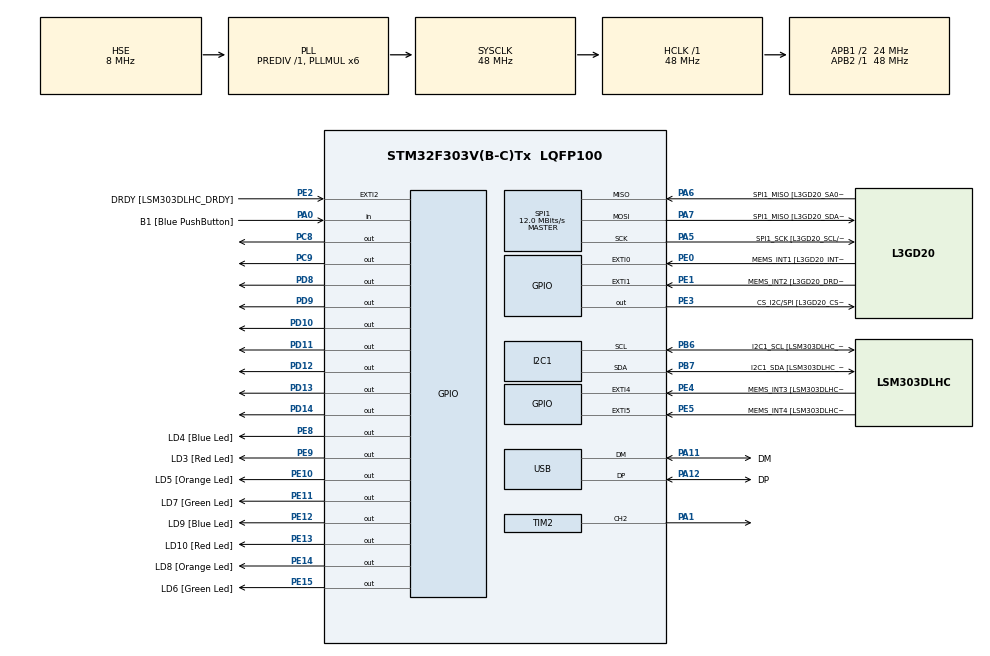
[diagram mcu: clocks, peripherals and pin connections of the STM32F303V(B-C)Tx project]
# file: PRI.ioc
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I2C1.Timing=0x2000090E
I2C1.Timing-I2C=0x2000090E
Mcu.Family=STM32F3
Mcu.Name=STM32F303V(B-C)Tx
Mcu.Package=LQFP100
NVIC.PriorityGroup=NVIC_PRIORITYGROUP_0
PA0.GPIO_Label=B1 [Blue PushButton]
PA0.Signal=GPIO_Input
PA1.Signal=S_TIM2_CH2
PA11.GPIO_Label=DM
PA11.Mode=Device
PA11.Signal=USB_DM
PA12.GPIO_Label=DP
PA12.Mode=Device
PA12.Signal=USB_DP
PA13.GPIO_Label=SWDIO
PA13.Mode=Serial_Wire
PA13.Signal=SYS_JTMS-SWDIO
PA14.GPIO_Label=SWCLK
PA14.Mode=Serial_Wire
PA14.Signal=SYS_JTCK-SWCLK
PA5.GPIO_Label=SPI1_SCK [L3GD20_SCL/SPC]
PA5.Mode=Full_Duplex_Master
PA5.Signal=SPI1_SCK
PA6.GPIO_Label=SPI1_MISO [L3GD20_SA0/SDO]
PA6.Mode=Full_Duplex_Master
PA6.Signal=SPI1_MISO
PA7.GPIO_Label=SPI1_MISO [L3GD20_SDA/SDI/SDO]
PA7.Mode=Full_Duplex_Master
PA7.Signal=SPI1_MOSI
PB3.GPIO_Label=SWO
PB3.Signal=SYS_JTDO-TRACESWO
PB6.GPIO_Label=I2C1_SCL [LSM303DLHC_SCL]
PB6.GPIO_Pu=GPIO_PULLUP
PB6.Mode=I2C
PB6.Signal=I2C1_SCL
PB7.GPIO_Label=I2C1_SDA [LSM303DLHC_SDA]
PB7.GPIO_Pu=GPIO_PULLUP
PB7.Mode=I2C
PB7.Signal=I2C1_SDA
PC14-OSC32_IN.GPIO_Label=OSC32_IN
PC14-OSC32_IN.Signal=RCC_OSC32_IN
PC15-OSC32_OUT.GPIO_Label=OSC32_OUT
PC15-OSC32_OUT.Signal=RCC_OSC32_OUT
PC8.PinState=GPIO_PIN_RESET
PC8.Signal=GPIO_Output
PC9.Signal=GPIO_Output
PD10.Signal=GPIO_Output
PD11.Signal=GPIO_Output
PD12.Signal=GPIO_Output
PD13.Signal=GPIO_Output
PD14.Signal=GPIO_Output
PD8.Signal=GPIO_Output
PD9.Signal=GPIO_Output
PE0.GPIO_Label=MEMS_INT1 [L3GD20_INT1]
PE0.GPIO_ModeDefaultEXTI=GPIO_MODE_EVT_RISING
PE0.Signal=GPXTI0
PE1.GPIO_Label=MEMS_INT2 [L3GD20_DRDY/INT2]
PE1.GPIO_ModeDefaultEXTI=GPIO_MODE_EVT_RISING
PE1.Signal=GPXTI1
PE10.GPIO_Label=LD5 [Orange Led]
PE10.Signal=GPIO_Output
PE11.GPIO_Label=LD7 [Green Led]
PE11.Signal=GPIO_Output
PE12.GPIO_Label=LD9 [Blue Led]
PE12.Signal=GPIO_Output
PE13.GPIO_Label=LD10 [Red Led]
PE13.Signal=GPIO_Output
PE14.GPIO_Label=LD8 [Orange Led]
PE14.Signal=GPIO_Output
PE15.GPIO_Label=LD6 [Green Led]
PE15.Signal=GPIO_Output
PE2.GPIO_Label=DRDY [LSM303DLHC_DRDY]
PE2.GPIO_ModeDefaultEXTI=GPIO_MODE_EVT_RISING
PE2.Signal=GPXTI2
PE3.GPIO_Label=CS_I2C/SPI [L3GD20_CS_I2C/SPI]
PE3.Signal=GPIO_Output
PE4.GPIO_Label=MEMS_INT3 [LSM303DLHC_INT1]
PE4.GPIO_ModeDefaultEXTI=GPIO_MODE_EVT_RISING
PE4.Signal=GPXTI4
PE5.GPIO_Label=MEMS_INT4 [LSM303DLHC_INT2]
PE5.GPIO_ModeDefaultEXTI=GPIO_MODE_EVT_RISING
PE5.Signal=GPXTI5
PE8.GPIO_Label=LD4 [Blue Led]
PE8.Signal=GPIO_Output
PE9.GPIO_Label=LD3 [Red Led]
PE9.Signal=GPIO_Output
PF0-OSC_IN.GPIO_Label=OSC_IN
PF0-OSC_IN.Mode=HSE-External-Clock-Source
PF0-OSC_IN.Signal=RCC_OSC_IN
PF1-OSC_OUT.GPIO_Label=OSC_OUT
PF1-OSC_OUT.Signal=RCC_OSC_OUT
ProjectManager.HeapSize=0x200
ProjectManager.StackSize=0x400
ProjectManager.TargetToolchain=STM32CubeIDE
RCC.AHBFreq_Value=48000000
RCC.APB1CLKDivider=RCC_HCLK_DIV2
RCC.APB1Freq_Value=24000000
RCC.APB1TimFreq_Value=48000000
RCC.APB2Freq_Value=48000000
RCC.APB2TimFreq_Value=48000000
RCC.CortexFreq_Value=48000000
RCC.HCLKFreq_Value=48000000
RCC.HSE_VALUE=8000000
RCC.HSI_VALUE=8000000
RCC.LSE_VALUE=32768
RCC.PLLMUL=RCC_PLL_MUL6
RCC.SYSCLKFreq_VALUE=48000000
RCC.SYSCLKSourceVirtual=RCC_SYSCLKSOURCE_PLLCLK
RCC.USBFreq_Value=48000000
SH.S_TIM2_CH2.0=TIM2_CH2,PWM Generation2 CH2
SPI1.BaudRatePrescaler=SPI_BAUDRATEPRESCALER_4
SPI1.BaudRatePrescaler-Full_Duplex_Master=SPI_BAUDRATEPRESCALER_2
SPI1.CalculateBaudRate=12.0 MBits/s
SPI1.CalculateBaudRate-Full_Duplex_Master=24.0 MBits/s
SPI1.Direction=SPI_DIRECTION_2LINES
SPI1.Mode=SPI_MODE_MASTER
SPI1.Mode-Full_Duplex_Master=SPI_MODE_MASTER
SPI1.VirtualType=VM_MASTER
TIM2.Channel-PWM\ Generation2\ CH2=TIM_CHANNEL_2
VP_RTC_VS_RTC_Activate.Mode=RTC_Enabled
VP_RTC_VS_RTC_Calendar.Mode=RTC_Calendar
VP_TIM2_VS_ClockSourceINT.Mode=Internal
board=STM32F3DISCOVERY

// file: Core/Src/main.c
/* USER CODE BEGIN Header */
/**
  ******************************************************************************
  * @file           : main.c
  * @brief          : Main program body
  ******************************************************************************
  * @attention
  *
  * Copyright (c) 2022 STMicroelectronics.
  * All rights reserved.
  *
  * This software is licensed under terms that can be found in the LICENSE file
  * in the root directory of this software component.
  * If no LICENSE file comes with this software, it is provided AS-IS.
  *
  ******************************************************************************
  */
/* USER CODE END Header */
#include "main.h"

/* USER CODE BEGIN Includes */
#include "LiquidCrystal.h"
#include "buzzer_player.h"
/* USER CODE END Includes */

I2C_HandleTypeDef hi2c1;

RTC_HandleTypeDef hrtc;

SPI_HandleTypeDef hspi1;

TIM_HandleTypeDef htim2;

PCD_HandleTypeDef hpcd_USB_FS;

/* USER CODE BEGIN PV */
Buzzer_Player player;
TIM_HandleTypeDef *buzzerPwmTimer = &htim2;
int buzzerPwmChannel = TIM_CHANNEL_2;
/* USER CODE END PV */

void SystemClock_Config(void);
static void MX_GPIO_Init(void);
static void MX_I2C1_Init(void);
static void MX_SPI1_Init(void);
static void MX_USB_PCD_Init(void);
static void MX_TIM2_Init(void);
static void MX_RTC_Init(void);

int main(void)
{

  /* MCU Configuration--------------------------------------------------------*/

  /* Reset of all peripherals, Initializes the Flash interface and the Systick. */
  HAL_Init();

  /* Configure the system clock */
  SystemClock_Config();

  /* Initialize all configured peripherals */
  MX_GPIO_Init();
  MX_I2C1_Init();
  MX_SPI1_Init();
  MX_USB_PCD_Init();
  MX_TIM2_Init();
  MX_RTC_Init();
  /* USER CODE BEGIN 2 */
  HAL_TIM_PWM_Start(buzzerPwmTimer, buzzerPwmChannel);
  init_buzzer_player(&player, buzzerPwmTimer, buzzerPwmChannel);
  LiquidCrystal(GPIOD, GPIO_PIN_8, GPIO_PIN_9, GPIO_PIN_10, GPIO_PIN_11, GPIO_PIN_12, GPIO_PIN_13, GPIO_PIN_14);
  begin(0, 1);
  clear();

	RTC_TimeTypeDef time;
	time.Hours = 12;
	time.Minutes = 0;
	time.Seconds = 0;

	HAL_RTC_SetTime(&hrtc, &time, RTC_FORMAT_BIN);

	RTC_DateTypeDef rtcDate;
	rtcDate.Year = 22;
	rtcDate.Month = 12;
	rtcDate.Date = 24;

	HAL_RTC_SetDate(&hrtc, &rtcDate, RTC_FORMAT_BIN);

  /* USER CODE END 2 */

  /* Infinite loop */
  while (1)
  {

    /* USER CODE BEGIN 3 */
	  HAL_GPIO_WritePin(GPIOE, GPIO_PIN_15, 1);
  }
  /* USER CODE END 3 */
}

void SystemClock_Config(void)
{
  RCC_OscInitTypeDef RCC_OscInitStruct = {0};
  RCC_ClkInitTypeDef RCC_ClkInitStruct = {0};
  RCC_PeriphCLKInitTypeDef PeriphClkInit = {0};

  /** Initializes the RCC Oscillators according to the specified parameters
  * in the RCC_OscInitTypeDef structure.
  */
  RCC_OscInitStruct.OscillatorType = RCC_OSCILLATORTYPE_HSI|RCC_OSCILLATORTYPE_LSI
                              |RCC_OSCILLATORTYPE_HSE;
  RCC_OscInitStruct.HSEState = RCC_HSE_BYPASS;
  RCC_OscInitStruct.HSEPredivValue = RCC_HSE_PREDIV_DIV1;
  RCC_OscInitStruct.HSIState = RCC_HSI_ON;
  RCC_OscInitStruct.HSICalibrationValue = RCC_HSICALIBRATION_DEFAULT;
  RCC_OscInitStruct.LSIState = RCC_LSI_ON;
  RCC_OscInitStruct.PLL.PLLState = RCC_PLL_ON;
  RCC_OscInitStruct.PLL.PLLSource = RCC_PLLSOURCE_HSE;
  RCC_OscInitStruct.PLL.PLLMUL = RCC_PLL_MUL6;
  if (HAL_RCC_OscConfig(&RCC_OscInitStruct) != HAL_OK)
  {
    Error_Handler();
  }

  /** Initializes the CPU, AHB and APB buses clocks
  */
  RCC_ClkInitStruct.ClockType = RCC_CLOCKTYPE_HCLK|RCC_CLOCKTYPE_SYSCLK
                              |RCC_CLOCKTYPE_PCLK1|RCC_CLOCKTYPE_PCLK2;
  RCC_ClkInitStruct.SYSCLKSource = RCC_SYSCLKSOURCE_PLLCLK;
  RCC_ClkInitStruct.AHBCLKDivider = RCC_SYSCLK_DIV1;
  RCC_ClkInitStruct.APB1CLKDivider = RCC_HCLK_DIV2;
  RCC_ClkInitStruct.APB2CLKDivider = RCC_HCLK_DIV1;

  if (HAL_RCC_ClockConfig(&RCC_ClkInitStruct, FLASH_LATENCY_1) != HAL_OK)
  {
    Error_Handler();
  }
  PeriphClkInit.PeriphClockSelection = RCC_PERIPHCLK_USB|RCC_PERIPHCLK_I2C1
                              |RCC_PERIPHCLK_RTC;
  PeriphClkInit.I2c1ClockSelection = RCC_I2C1CLKSOURCE_HSI;
  PeriphClkInit.RTCClockSelection = RCC_RTCCLKSOURCE_LSI;
  PeriphClkInit.USBClockSelection = RCC_USBCLKSOURCE_PLL;
  if (HAL_RCCEx_PeriphCLKConfig(&PeriphClkInit) != HAL_OK)
  {
    Error_Handler();
  }
}

static void MX_I2C1_Init(void)
{

  hi2c1.Instance = I2C1;
  hi2c1.Init.Timing = 0x2000090E;
  hi2c1.Init.OwnAddress1 = 0;
  hi2c1.Init.AddressingMode = I2C_ADDRESSINGMODE_7BIT;
  hi2c1.Init.DualAddressMode = I2C_DUALADDRESS_DISABLE;
  hi2c1.Init.OwnAddress2 = 0;
  hi2c1.Init.OwnAddress2Masks = I2C_OA2_NOMASK;
  hi2c1.Init.GeneralCallMode = I2C_GENERALCALL_DISABLE;
  hi2c1.Init.NoStretchMode = I2C_NOSTRETCH_DISABLE;
  if (HAL_I2C_Init(&hi2c1) != HAL_OK)
  {
    Error_Handler();
  }

  /** Configure Analogue filter
  */
  if (HAL_I2CEx_ConfigAnalogFilter(&hi2c1, I2C_ANALOGFILTER_ENABLE) != HAL_OK)
  {
    Error_Handler();
  }

  /** Configure Digital filter
  */
  if (HAL_I2CEx_ConfigDigitalFilter(&hi2c1, 0) != HAL_OK)
  {
    Error_Handler();
  }

}

static void MX_RTC_Init(void)
{

  RTC_TimeTypeDef sTime = {0};
  RTC_DateTypeDef sDate = {0};

  /** Initialize RTC Only
  */
  hrtc.Instance = RTC;
  hrtc.Init.HourFormat = RTC_HOURFORMAT_24;
  hrtc.Init.AsynchPrediv = 127;
  hrtc.Init.SynchPrediv = 255;
  hrtc.Init.OutPut = RTC_OUTPUT_DISABLE;
  hrtc.Init.OutPutPolarity = RTC_OUTPUT_POLARITY_HIGH;
  hrtc.Init.OutPutType = RTC_OUTPUT_TYPE_OPENDRAIN;
  if (HAL_RTC_Init(&hrtc) != HAL_OK)
  {
    Error_Handler();
  }

  /** Initialize RTC and set the Time and Date
  */
  sTime.Hours = 0x0;
  sTime.Minutes = 0x0;
  sTime.Seconds = 0x0;
  sTime.DayLightSaving = RTC_DAYLIGHTSAVING_NONE;
  sTime.StoreOperation = RTC_STOREOPERATION_RESET;
  if (HAL_RTC_SetTime(&hrtc, &sTime, RTC_FORMAT_BCD) != HAL_OK)
  {
    Error_Handler();
  }
  sDate.WeekDay = RTC_WEEKDAY_MONDAY;
  sDate.Month = RTC_MONTH_JANUARY;
  sDate.Date = 0x1;
  sDate.Year = 0x0;

  if (HAL_RTC_SetDate(&hrtc, &sDate, RTC_FORMAT_BCD) != HAL_OK)
  {
    Error_Handler();
  }

}

static void MX_SPI1_Init(void)
{

  /* SPI1 parameter configuration*/
  hspi1.Instance = SPI1;
  hspi1.Init.Mode = SPI_MODE_MASTER;
  hspi1.Init.Direction = SPI_DIRECTION_2LINES;
  hspi1.Init.DataSize = SPI_DATASIZE_4BIT;
  hspi1.Init.CLKPolarity = SPI_POLARITY_LOW;
  hspi1.Init.CLKPhase = SPI_PHASE_1EDGE;
  hspi1.Init.NSS = SPI_NSS_SOFT;
  hspi1.Init.BaudRatePrescaler = SPI_BAUDRATEPRESCALER_4;
  hspi1.Init.FirstBit = SPI_FIRSTBIT_MSB;
  hspi1.Init.TIMode = SPI_TIMODE_DISABLE;
  hspi1.Init.CRCCalculation = SPI_CRCCALCULATION_DISABLE;
  hspi1.Init.CRCPolynomial = 7;
  hspi1.Init.CRCLength = SPI_CRC_LENGTH_DATASIZE;
  hspi1.Init.NSSPMode = SPI_NSS_PULSE_ENABLE;
  if (HAL_SPI_Init(&hspi1) != HAL_OK)
  {
    Error_Handler();
  }

}

static void MX_TIM2_Init(void)
{

  TIM_ClockConfigTypeDef sClockSourceConfig = {0};
  TIM_MasterConfigTypeDef sMasterConfig = {0};
  TIM_OC_InitTypeDef sConfigOC = {0};

  htim2.Instance = TIM2;
  htim2.Init.Prescaler = 0;
  htim2.Init.CounterMode = TIM_COUNTERMODE_UP;
  htim2.Init.Period = 4294967295;
  htim2.Init.ClockDivision = TIM_CLOCKDIVISION_DIV1;
  htim2.Init.AutoReloadPreload = TIM_AUTORELOAD_PRELOAD_DISABLE;
  if (HAL_TIM_Base_Init(&htim2) != HAL_OK)
  {
    Error_Handler();
  }
  sClockSourceConfig.ClockSource = TIM_CLOCKSOURCE_INTERNAL;
  if (HAL_TIM_ConfigClockSource(&htim2, &sClockSourceConfig) != HAL_OK)
  {
    Error_Handler();
  }
  if (HAL_TIM_PWM_Init(&htim2) != HAL_OK)
  {
    Error_Handler();
  }
  sMasterConfig.MasterOutputTrigger = TIM_TRGO_RESET;
  sMasterConfig.MasterSlaveMode = TIM_MASTERSLAVEMODE_DISABLE;
  if (HAL_TIMEx_MasterConfigSynchronization(&htim2, &sMasterConfig) != HAL_OK)
  {
    Error_Handler();
  }
  sConfigOC.OCMode = TIM_OCMODE_PWM1;
  sConfigOC.Pulse = 0;
  sConfigOC.OCPolarity = TIM_OCPOLARITY_HIGH;
  sConfigOC.OCFastMode = TIM_OCFAST_DISABLE;
  if (HAL_TIM_PWM_ConfigChannel(&htim2, &sConfigOC, TIM_CHANNEL_2) != HAL_OK)
  {
    Error_Handler();
  }
  HAL_TIM_MspPostInit(&htim2);

}

static void MX_USB_PCD_Init(void)
{

  hpcd_USB_FS.Instance = USB;
  hpcd_USB_FS.Init.dev_endpoints = 8;
  hpcd_USB_FS.Init.speed = PCD_SPEED_FULL;
  hpcd_USB_FS.Init.phy_itface = PCD_PHY_EMBEDDED;
  hpcd_USB_FS.Init.low_power_enable = DISABLE;
  hpcd_USB_FS.Init.battery_charging_enable = DISABLE;
  if (HAL_PCD_Init(&hpcd_USB_FS) != HAL_OK)
  {
    Error_Handler();
  }

}

static void MX_GPIO_Init(void)
{
  GPIO_InitTypeDef GPIO_InitStruct = {0};

  /* GPIO Ports Clock Enable */
  __HAL_RCC_GPIOE_CLK_ENABLE();
  __HAL_RCC_GPIOC_CLK_ENABLE();
  __HAL_RCC_GPIOF_CLK_ENABLE();
  __HAL_RCC_GPIOA_CLK_ENABLE();
  __HAL_RCC_GPIOD_CLK_ENABLE();
  __HAL_RCC_GPIOB_CLK_ENABLE();

  /*Configure GPIO pin Output Level */
  HAL_GPIO_WritePin(GPIOE, CS_I2C_SPI_Pin|LD4_Pin|LD3_Pin|LD5_Pin
                          |LD7_Pin|LD9_Pin|LD10_Pin|LD8_Pin
                          |LD6_Pin, GPIO_PIN_RESET);

  /*Configure GPIO pin Output Level */
  HAL_GPIO_WritePin(GPIOD, GPIO_PIN_8|GPIO_PIN_9|GPIO_PIN_10|GPIO_PIN_11
                          |GPIO_PIN_12|GPIO_PIN_13|GPIO_PIN_14, GPIO_PIN_RESET);

  /*Configure GPIO pin Output Level */
  HAL_GPIO_WritePin(GPIOC, GPIO_PIN_8|GPIO_PIN_9, GPIO_PIN_RESET);

  /*Configure GPIO pins : DRDY_Pin MEMS_INT3_Pin MEMS_INT4_Pin MEMS_INT1_Pin
                           MEMS_INT2_Pin */
  GPIO_InitStruct.Pin = DRDY_Pin|MEMS_INT3_Pin|MEMS_INT4_Pin|MEMS_INT1_Pin
                          |MEMS_INT2_Pin;
  GPIO_InitStruct.Mode = GPIO_MODE_EVT_RISING;
  GPIO_InitStruct.Pull = GPIO_NOPULL;
  HAL_GPIO_Init(GPIOE, &GPIO_InitStruct);

  /*Configure GPIO pins : CS_I2C_SPI_Pin LD4_Pin LD3_Pin LD5_Pin
                           LD7_Pin LD9_Pin LD10_Pin LD8_Pin
                           LD6_Pin */
  GPIO_InitStruct.Pin = CS_I2C_SPI_Pin|LD4_Pin|LD3_Pin|LD5_Pin
                          |LD7_Pin|LD9_Pin|LD10_Pin|LD8_Pin
                          |LD6_Pin;
  GPIO_InitStruct.Mode = GPIO_MODE_OUTPUT_PP;
  GPIO_InitStruct.Pull = GPIO_NOPULL;
  GPIO_InitStruct.Speed = GPIO_SPEED_FREQ_LOW;
  HAL_GPIO_Init(GPIOE, &GPIO_InitStruct);

  /*Configure GPIO pin : B1_Pin */
  GPIO_InitStruct.Pin = B1_Pin;
  GPIO_InitStruct.Mode = GPIO_MODE_INPUT;
  GPIO_InitStruct.Pull = GPIO_NOPULL;
  HAL_GPIO_Init(B1_GPIO_Port, &GPIO_InitStruct);

  /*Configure GPIO pins : PD8 PD9 PD10 PD11
                           PD12 PD13 PD14 */
  GPIO_InitStruct.Pin = GPIO_PIN_8|GPIO_PIN_9|GPIO_PIN_10|GPIO_PIN_11
                          |GPIO_PIN_12|GPIO_PIN_13|GPIO_PIN_14;
  GPIO_InitStruct.Mode = GPIO_MODE_OUTPUT_PP;
  GPIO_InitStruct.Pull = GPIO_NOPULL;
  GPIO_InitStruct.Speed = GPIO_SPEED_FREQ_LOW;
  HAL_GPIO_Init(GPIOD, &GPIO_InitStruct);

  /*Configure GPIO pins : PC8 PC9 */
  GPIO_InitStruct.Pin = GPIO_PIN_8|GPIO_PIN_9;
  GPIO_InitStruct.Mode = GPIO_MODE_OUTPUT_PP;
  GPIO_InitStruct.Pull = GPIO_NOPULL;
  GPIO_InitStruct.Speed = GPIO_SPEED_FREQ_LOW;
  HAL_GPIO_Init(GPIOC, &GPIO_InitStruct);

}

void Error_Handler(void)
{
  __disable_irq();
  while (1)
  {
  }
}
